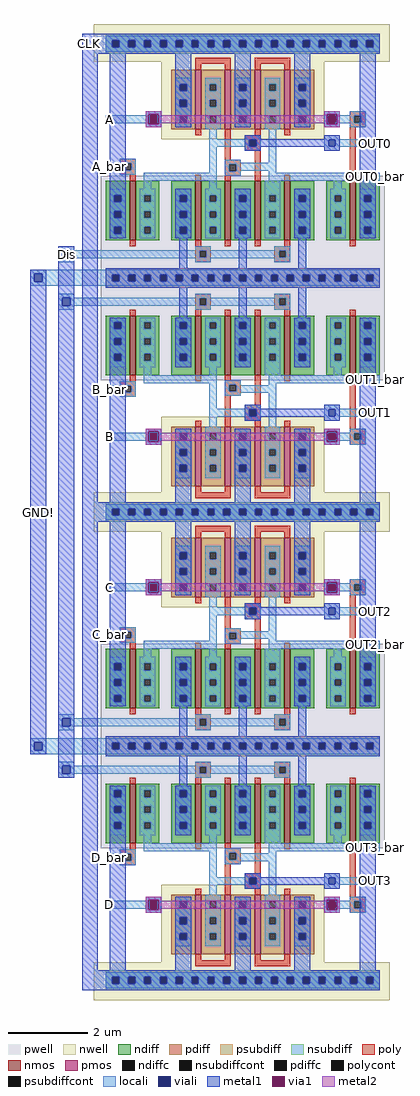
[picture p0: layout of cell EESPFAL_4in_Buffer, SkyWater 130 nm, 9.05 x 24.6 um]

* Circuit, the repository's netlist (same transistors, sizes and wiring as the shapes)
* NGSPICE file created from EESPFAL_4in_Buffer.ext - technology: sky130A

.subckt EESPFAL_INV4 A A_bar OUT OUT_bar Dis GND CLK
X0 OUT A_bar CLK GND sky130_fd_pr__nfet_01v8 ad=1.8e+12p pd=8.4e+06u as=5.25e+12p ps=2.32e+07u w=1.5e+06u l=150000u
X1 CLK OUT OUT_bar CLK sky130_fd_pr__pfet_01v8 ad=2.7e+12p pd=1.26e+07u as=9e+11p ps=4.2e+06u w=1.5e+06u l=150000u M=2
X2 GND Dis OUT_bar GND sky130_fd_pr__nfet_01v8 ad=2.7e+12p pd=1.26e+07u as=1.8e+12p ps=8.4e+06u w=1.5e+06u l=150000u
X3 GND OUT_bar OUT GND sky130_fd_pr__nfet_01v8 ad=0p pd=0u as=0p ps=0u w=1.5e+06u l=150000u
X4 CLK OUT_bar OUT CLK sky130_fd_pr__pfet_01v8 ad=0p pd=0u as=9e+11p ps=4.2e+06u w=1.5e+06u l=150000u M=2
X5 OUT_bar OUT GND GND sky130_fd_pr__nfet_01v8 ad=0p pd=0u as=0p ps=0u w=1.5e+06u l=150000u
X6 CLK A OUT_bar GND sky130_fd_pr__nfet_01v8 ad=0p pd=0u as=0p ps=0u w=1.5e+06u l=150000u
X7 OUT Dis GND GND sky130_fd_pr__nfet_01v8 ad=0p pd=0u as=0p ps=0u w=1.5e+06u l=150000u
.ends

.subckt EESPFAL_4in_Buffer A A_bar B B_bar C C_bar D D_bar OUT0 OUT0_bar OUT1 OUT1_bar
+ OUT2 OUT2_bar OUT3 OUT3_bar Dis GND CLK
XEESPFAL_INV4_0 A A_bar OUT0 OUT0_bar Dis GND CLK EESPFAL_INV4
XEESPFAL_INV4_1 B B_bar OUT1 OUT1_bar Dis GND CLK EESPFAL_INV4
XEESPFAL_INV4_2 C C_bar OUT2 OUT2_bar Dis GND CLK EESPFAL_INV4
XEESPFAL_INV4_3 D D_bar OUT3 OUT3_bar Dis GND CLK EESPFAL_INV4
.ends

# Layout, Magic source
magic
tech sky130A
<< locali >>
rect -130 485 -110 505
rect 540 425 560 445
rect -130 365 -110 385
rect 540 340 560 360
rect -250 165 -210 175
rect -250 145 -240 165
rect -220 145 -110 165
rect -250 135 -210 145
rect -320 105 -130 115
rect -320 85 -310 105
rect -290 85 -130 105
rect -320 75 -130 85
rect -250 45 -210 55
rect -250 25 -240 45
rect -220 25 -110 45
rect -250 15 -210 25
rect 540 -170 560 -150
rect -130 -195 -110 -175
rect 540 -255 560 -235
rect -130 -315 -110 -295
rect -130 -695 -110 -675
rect 540 -755 560 -735
rect -130 -815 -110 -795
rect 540 -840 560 -820
rect -250 -1015 -210 -1005
rect -250 -1035 -240 -1015
rect -220 -1035 -110 -1015
rect -250 -1045 -210 -1035
rect -320 -1075 -130 -1065
rect -320 -1095 -310 -1075
rect -290 -1095 -130 -1075
rect -320 -1105 -130 -1095
rect -250 -1135 -210 -1125
rect -250 -1155 -240 -1135
rect -220 -1155 -110 -1135
rect -250 -1165 -210 -1155
rect 540 -1350 560 -1330
rect -130 -1375 -110 -1355
rect 540 -1435 560 -1415
rect -130 -1495 -110 -1475
<< viali >>
rect -240 145 -220 165
rect -310 85 -290 105
rect -240 25 -220 45
rect -240 -1035 -220 -1015
rect -310 -1095 -290 -1075
rect -240 -1155 -220 -1135
<< metal1 >>
rect -190 660 -130 710
rect -250 165 -210 175
rect -250 145 -240 165
rect -220 145 -210 165
rect -320 105 -280 115
rect -320 85 -310 105
rect -290 85 -280 105
rect -320 -1075 -280 85
rect -320 -1095 -310 -1075
rect -290 -1095 -280 -1075
rect -320 -1105 -280 -1095
rect -250 45 -210 145
rect -250 25 -240 45
rect -220 25 -210 45
rect -250 -1015 -210 25
rect -250 -1035 -240 -1015
rect -220 -1035 -210 -1015
rect -250 -1135 -210 -1035
rect -250 -1155 -240 -1135
rect -220 -1155 -210 -1135
rect -250 -1165 -210 -1155
rect -190 -470 -150 660
rect -190 -520 -130 -470
rect -190 -1650 -150 -520
rect -190 -1700 -130 -1650
use EESPFAL_INV4  EESPFAL_INV4_0
transform 1 0 1535 0 1 -240
box -1695 310 -950 975
use EESPFAL_INV4  EESPFAL_INV4_1
transform 1 0 1535 0 -1 430
box -1695 310 -950 975
use EESPFAL_INV4  EESPFAL_INV4_2
transform 1 0 1535 0 1 -1420
box -1695 310 -950 975
use EESPFAL_INV4  EESPFAL_INV4_3
transform 1 0 1535 0 -1 -750
box -1695 310 -950 975
<< labels >>
rlabel locali -125 490 -115 500 7 A
port 1 w
rlabel locali -125 370 -115 380 7 A_bar
port 2 w
rlabel locali -125 -190 -115 -180 7 B_bar
port 4 w
rlabel locali -125 -310 -115 -300 1 B
port 3 n
rlabel locali -125 -690 -115 -680 7 C
port 5 w
rlabel locali -125 -810 -115 -800 7 C_bar
port 6 w
rlabel locali -125 -1370 -115 -1360 7 D_bar
port 8 w
rlabel locali -125 -1490 -115 -1480 7 D
port 7 w
rlabel locali 545 430 555 440 3 OUT0
port 9 e
rlabel locali 545 345 555 355 3 OUT0_bar
port 10 e
rlabel locali 545 -165 555 -155 3 OUT1_bar
port 12 e
rlabel locali 545 -250 555 -240 3 OUT1
port 11 e
rlabel locali 545 -750 555 -740 3 OUT2
port 13 e
rlabel locali 545 -835 555 -825 3 OUT2_bar
port 14 e
rlabel locali 545 -1345 555 -1335 3 OUT3_bar
port 16 e
rlabel locali 545 -1430 555 -1420 3 OUT3
port 15 e
rlabel metal1 -180 675 -160 695 7 CLK
port 19 w
rlabel metal1 -310 -505 -290 -485 7 GND!
port 18 w
rlabel metal1 -240 145 -220 165 7 Dis
port 17 w
<< end >>

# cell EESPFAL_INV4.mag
magic
tech sky130A
magscale 1 2
<< nwell >>
rect -3390 1760 -1900 1950
rect -3050 1370 -2230 1760
<< pwell >>
rect -3356 594 -1924 1186
<< nmos >>
rect -3210 860 -3180 1160
rect -2880 860 -2850 1160
rect -2730 860 -2700 1160
rect -2580 860 -2550 1160
rect -2430 860 -2400 1160
rect -2100 860 -2070 1160
<< pmos >>
rect -2880 1420 -2850 1720
rect -2730 1420 -2700 1720
rect -2580 1420 -2550 1720
rect -2430 1420 -2400 1720
<< ndiff >>
rect -3330 1087 -3210 1160
rect -3330 1053 -3287 1087
rect -3253 1053 -3210 1087
rect -3330 1007 -3210 1053
rect -3330 973 -3287 1007
rect -3253 973 -3210 1007
rect -3330 927 -3210 973
rect -3330 893 -3287 927
rect -3253 893 -3210 927
rect -3330 860 -3210 893
rect -3180 1087 -3060 1160
rect -3180 1053 -3137 1087
rect -3103 1053 -3060 1087
rect -3180 1007 -3060 1053
rect -3180 973 -3137 1007
rect -3103 973 -3060 1007
rect -3180 927 -3060 973
rect -3180 893 -3137 927
rect -3103 893 -3060 927
rect -3180 860 -3060 893
rect -3000 1087 -2880 1160
rect -3000 1053 -2957 1087
rect -2923 1053 -2880 1087
rect -3000 1007 -2880 1053
rect -3000 973 -2957 1007
rect -2923 973 -2880 1007
rect -3000 927 -2880 973
rect -3000 893 -2957 927
rect -2923 893 -2880 927
rect -3000 860 -2880 893
rect -2850 1087 -2730 1160
rect -2850 1053 -2807 1087
rect -2773 1053 -2730 1087
rect -2850 1007 -2730 1053
rect -2850 973 -2807 1007
rect -2773 973 -2730 1007
rect -2850 927 -2730 973
rect -2850 893 -2807 927
rect -2773 893 -2730 927
rect -2850 860 -2730 893
rect -2700 1087 -2580 1160
rect -2700 1053 -2657 1087
rect -2623 1053 -2580 1087
rect -2700 1007 -2580 1053
rect -2700 973 -2657 1007
rect -2623 973 -2580 1007
rect -2700 927 -2580 973
rect -2700 893 -2657 927
rect -2623 893 -2580 927
rect -2700 860 -2580 893
rect -2550 1087 -2430 1160
rect -2550 1053 -2507 1087
rect -2473 1053 -2430 1087
rect -2550 1007 -2430 1053
rect -2550 973 -2507 1007
rect -2473 973 -2430 1007
rect -2550 927 -2430 973
rect -2550 893 -2507 927
rect -2473 893 -2430 927
rect -2550 860 -2430 893
rect -2400 1087 -2280 1160
rect -2400 1053 -2357 1087
rect -2323 1053 -2280 1087
rect -2400 1007 -2280 1053
rect -2400 973 -2357 1007
rect -2323 973 -2280 1007
rect -2400 927 -2280 973
rect -2400 893 -2357 927
rect -2323 893 -2280 927
rect -2400 860 -2280 893
rect -2220 1087 -2100 1160
rect -2220 1053 -2177 1087
rect -2143 1053 -2100 1087
rect -2220 1007 -2100 1053
rect -2220 973 -2177 1007
rect -2143 973 -2100 1007
rect -2220 927 -2100 973
rect -2220 893 -2177 927
rect -2143 893 -2100 927
rect -2220 860 -2100 893
rect -2070 1087 -1950 1160
rect -2070 1053 -2027 1087
rect -1993 1053 -1950 1087
rect -2070 1007 -1950 1053
rect -2070 973 -2027 1007
rect -1993 973 -1950 1007
rect -2070 927 -1950 973
rect -2070 893 -2027 927
rect -1993 893 -1950 927
rect -2070 860 -1950 893
<< pdiff >>
rect -3000 1647 -2880 1720
rect -3000 1613 -2957 1647
rect -2923 1613 -2880 1647
rect -3000 1567 -2880 1613
rect -3000 1533 -2957 1567
rect -2923 1533 -2880 1567
rect -3000 1487 -2880 1533
rect -3000 1453 -2957 1487
rect -2923 1453 -2880 1487
rect -3000 1420 -2880 1453
rect -2850 1647 -2730 1720
rect -2850 1613 -2807 1647
rect -2773 1613 -2730 1647
rect -2850 1567 -2730 1613
rect -2850 1533 -2807 1567
rect -2773 1533 -2730 1567
rect -2850 1487 -2730 1533
rect -2850 1453 -2807 1487
rect -2773 1453 -2730 1487
rect -2850 1420 -2730 1453
rect -2700 1647 -2580 1720
rect -2700 1613 -2657 1647
rect -2623 1613 -2580 1647
rect -2700 1567 -2580 1613
rect -2700 1533 -2657 1567
rect -2623 1533 -2580 1567
rect -2700 1487 -2580 1533
rect -2700 1453 -2657 1487
rect -2623 1453 -2580 1487
rect -2700 1420 -2580 1453
rect -2550 1647 -2430 1720
rect -2550 1613 -2507 1647
rect -2473 1613 -2430 1647
rect -2550 1567 -2430 1613
rect -2550 1533 -2507 1567
rect -2473 1533 -2430 1567
rect -2550 1487 -2430 1533
rect -2550 1453 -2507 1487
rect -2473 1453 -2430 1487
rect -2550 1420 -2430 1453
rect -2400 1647 -2280 1720
rect -2400 1613 -2357 1647
rect -2323 1613 -2280 1647
rect -2400 1567 -2280 1613
rect -2400 1533 -2357 1567
rect -2323 1533 -2280 1567
rect -2400 1487 -2280 1533
rect -2400 1453 -2357 1487
rect -2323 1453 -2280 1487
rect -2400 1420 -2280 1453
<< ndiffc >>
rect -3287 1053 -3253 1087
rect -3287 973 -3253 1007
rect -3287 893 -3253 927
rect -3137 1053 -3103 1087
rect -3137 973 -3103 1007
rect -3137 893 -3103 927
rect -2957 1053 -2923 1087
rect -2957 973 -2923 1007
rect -2957 893 -2923 927
rect -2807 1053 -2773 1087
rect -2807 973 -2773 1007
rect -2807 893 -2773 927
rect -2657 1053 -2623 1087
rect -2657 973 -2623 1007
rect -2657 893 -2623 927
rect -2507 1053 -2473 1087
rect -2507 973 -2473 1007
rect -2507 893 -2473 927
rect -2357 1053 -2323 1087
rect -2357 973 -2323 1007
rect -2357 893 -2323 927
rect -2177 1053 -2143 1087
rect -2177 973 -2143 1007
rect -2177 893 -2143 927
rect -2027 1053 -1993 1087
rect -2027 973 -1993 1007
rect -2027 893 -1993 927
<< pdiffc >>
rect -2957 1613 -2923 1647
rect -2957 1533 -2923 1567
rect -2957 1453 -2923 1487
rect -2807 1613 -2773 1647
rect -2807 1533 -2773 1567
rect -2807 1453 -2773 1487
rect -2657 1613 -2623 1647
rect -2657 1533 -2623 1567
rect -2657 1453 -2623 1487
rect -2507 1613 -2473 1647
rect -2507 1533 -2473 1567
rect -2507 1453 -2473 1487
rect -2357 1613 -2323 1647
rect -2357 1533 -2323 1567
rect -2357 1453 -2323 1487
<< psubdiff >>
rect -3330 687 -1950 720
rect -3330 653 -3297 687
rect -3263 653 -3217 687
rect -3183 653 -3137 687
rect -3103 653 -3057 687
rect -3023 653 -2977 687
rect -2943 653 -2897 687
rect -2863 653 -2817 687
rect -2783 653 -2737 687
rect -2703 653 -2657 687
rect -2623 653 -2577 687
rect -2543 653 -2497 687
rect -2463 653 -2417 687
rect -2383 653 -2337 687
rect -2303 653 -2257 687
rect -2223 653 -2177 687
rect -2143 653 -2097 687
rect -2063 653 -2017 687
rect -1983 653 -1950 687
rect -3330 620 -1950 653
<< nsubdiff >>
rect -3330 1867 -1950 1900
rect -3330 1833 -3297 1867
rect -3263 1833 -3217 1867
rect -3183 1833 -3137 1867
rect -3103 1833 -3057 1867
rect -3023 1833 -2977 1867
rect -2943 1833 -2897 1867
rect -2863 1833 -2817 1867
rect -2783 1833 -2737 1867
rect -2703 1833 -2657 1867
rect -2623 1833 -2577 1867
rect -2543 1833 -2497 1867
rect -2463 1833 -2417 1867
rect -2383 1833 -2337 1867
rect -2303 1833 -2257 1867
rect -2223 1833 -2177 1867
rect -2143 1833 -2097 1867
rect -2063 1833 -2017 1867
rect -1983 1833 -1950 1867
rect -3330 1800 -1950 1833
<< psubdiffcont >>
rect -3297 653 -3263 687
rect -3217 653 -3183 687
rect -3137 653 -3103 687
rect -3057 653 -3023 687
rect -2977 653 -2943 687
rect -2897 653 -2863 687
rect -2817 653 -2783 687
rect -2737 653 -2703 687
rect -2657 653 -2623 687
rect -2577 653 -2543 687
rect -2497 653 -2463 687
rect -2417 653 -2383 687
rect -2337 653 -2303 687
rect -2257 653 -2223 687
rect -2177 653 -2143 687
rect -2097 653 -2063 687
rect -2017 653 -1983 687
<< nsubdiffcont >>
rect -3297 1833 -3263 1867
rect -3217 1833 -3183 1867
rect -3137 1833 -3103 1867
rect -3057 1833 -3023 1867
rect -2977 1833 -2943 1867
rect -2897 1833 -2863 1867
rect -2817 1833 -2783 1867
rect -2737 1833 -2703 1867
rect -2657 1833 -2623 1867
rect -2577 1833 -2543 1867
rect -2497 1833 -2463 1867
rect -2417 1833 -2383 1867
rect -2337 1833 -2303 1867
rect -2257 1833 -2223 1867
rect -2177 1833 -2143 1867
rect -2097 1833 -2063 1867
rect -2017 1833 -1983 1867
<< poly >>
rect -2880 1750 -2700 1780
rect -2880 1720 -2850 1750
rect -2730 1720 -2700 1750
rect -2580 1750 -2400 1780
rect -2580 1720 -2550 1750
rect -2430 1720 -2400 1750
rect -2100 1487 -2020 1510
rect -2100 1453 -2077 1487
rect -2043 1453 -2020 1487
rect -2100 1430 -2020 1453
rect -2880 1390 -2850 1420
rect -3260 1247 -3180 1270
rect -3260 1213 -3237 1247
rect -3203 1213 -3180 1247
rect -3260 1190 -3180 1213
rect -2730 1265 -2700 1420
rect -2580 1390 -2550 1420
rect -2430 1390 -2400 1420
rect -2630 1367 -2550 1390
rect -2630 1333 -2607 1367
rect -2573 1333 -2550 1367
rect -2630 1310 -2550 1333
rect -2730 1242 -2650 1265
rect -2730 1208 -2707 1242
rect -2673 1208 -2650 1242
rect -3210 1160 -3180 1190
rect -2880 1160 -2850 1190
rect -2730 1185 -2650 1208
rect -2730 1160 -2700 1185
rect -2580 1160 -2550 1310
rect -2430 1160 -2400 1190
rect -2100 1160 -2070 1430
rect -3210 830 -3180 860
rect -2880 830 -2850 860
rect -2730 830 -2700 860
rect -2580 830 -2550 860
rect -2430 830 -2400 860
rect -2100 830 -2070 860
rect -2880 807 -2800 830
rect -2880 773 -2857 807
rect -2823 773 -2800 807
rect -2880 750 -2800 773
rect -2480 807 -2400 830
rect -2480 773 -2457 807
rect -2423 773 -2400 807
rect -2480 750 -2400 773
<< polycont >>
rect -2077 1453 -2043 1487
rect -3237 1213 -3203 1247
rect -2607 1333 -2573 1367
rect -2707 1208 -2673 1242
rect -2857 773 -2823 807
rect -2457 773 -2423 807
<< locali >>
rect -3330 1867 -1950 1890
rect -3330 1833 -3297 1867
rect -3263 1833 -3217 1867
rect -3183 1833 -3137 1867
rect -3103 1833 -3057 1867
rect -3023 1833 -2977 1867
rect -2943 1833 -2897 1867
rect -2863 1833 -2817 1867
rect -2783 1833 -2737 1867
rect -2703 1833 -2657 1867
rect -2623 1833 -2577 1867
rect -2543 1833 -2497 1867
rect -2463 1833 -2417 1867
rect -2383 1833 -2337 1867
rect -2303 1833 -2257 1867
rect -2223 1833 -2177 1867
rect -2143 1833 -2097 1867
rect -2063 1833 -2017 1867
rect -1983 1833 -1950 1867
rect -3330 1810 -1950 1833
rect -2980 1647 -2900 1680
rect -2980 1613 -2957 1647
rect -2923 1613 -2900 1647
rect -2980 1567 -2900 1613
rect -2980 1533 -2957 1567
rect -2923 1533 -2900 1567
rect -3130 1490 -3050 1510
rect -3330 1487 -3050 1490
rect -3330 1453 -3107 1487
rect -3073 1453 -3050 1487
rect -3330 1450 -3050 1453
rect -3130 1430 -3050 1450
rect -2980 1487 -2900 1533
rect -2980 1453 -2957 1487
rect -2923 1453 -2900 1487
rect -2980 1430 -2900 1453
rect -2830 1647 -2750 1680
rect -2830 1613 -2807 1647
rect -2773 1613 -2750 1647
rect -2830 1567 -2750 1613
rect -2830 1533 -2807 1567
rect -2773 1533 -2750 1567
rect -2830 1487 -2750 1533
rect -2830 1453 -2807 1487
rect -2773 1453 -2750 1487
rect -2830 1420 -2750 1453
rect -2680 1647 -2600 1680
rect -2680 1613 -2657 1647
rect -2623 1613 -2600 1647
rect -2680 1567 -2600 1613
rect -2680 1533 -2657 1567
rect -2623 1533 -2600 1567
rect -2680 1487 -2600 1533
rect -2680 1453 -2657 1487
rect -2623 1453 -2600 1487
rect -2680 1430 -2600 1453
rect -2530 1647 -2450 1680
rect -2530 1613 -2507 1647
rect -2473 1613 -2450 1647
rect -2530 1567 -2450 1613
rect -2530 1533 -2507 1567
rect -2473 1533 -2450 1567
rect -2530 1487 -2450 1533
rect -2530 1453 -2507 1487
rect -2473 1453 -2450 1487
rect -2530 1420 -2450 1453
rect -2380 1647 -2300 1680
rect -2380 1613 -2357 1647
rect -2323 1613 -2300 1647
rect -2380 1567 -2300 1613
rect -2380 1533 -2357 1567
rect -2323 1533 -2300 1567
rect -2380 1487 -2300 1533
rect -2380 1453 -2357 1487
rect -2323 1453 -2300 1487
rect -2380 1430 -2300 1453
rect -2230 1490 -2150 1510
rect -2100 1490 -2020 1510
rect -2230 1487 -2020 1490
rect -2230 1453 -2207 1487
rect -2173 1453 -2077 1487
rect -2043 1453 -2020 1487
rect -2230 1450 -2020 1453
rect -2230 1430 -2150 1450
rect -2100 1430 -2020 1450
rect -2810 1370 -2770 1420
rect -2630 1370 -2550 1390
rect -2810 1367 -2550 1370
rect -2810 1333 -2607 1367
rect -2573 1333 -2550 1367
rect -2810 1330 -2550 1333
rect -3260 1250 -3180 1270
rect -3330 1247 -3180 1250
rect -3330 1213 -3237 1247
rect -3203 1213 -3180 1247
rect -3330 1210 -3180 1213
rect -3260 1190 -3180 1210
rect -2810 1200 -2770 1330
rect -2630 1310 -2550 1330
rect -3140 1160 -2770 1200
rect -2730 1250 -2650 1265
rect -2510 1250 -2470 1420
rect -2230 1370 -2150 1390
rect -2230 1367 -1950 1370
rect -2230 1333 -2207 1367
rect -2173 1333 -1950 1367
rect -2230 1330 -1950 1333
rect -2230 1310 -2150 1330
rect -2730 1242 -2470 1250
rect -2730 1208 -2707 1242
rect -2673 1210 -2470 1242
rect -2673 1208 -2650 1210
rect -2730 1185 -2650 1208
rect -2510 1200 -2470 1210
rect -2510 1160 -1950 1200
rect -3140 1120 -3100 1160
rect -2810 1120 -2770 1160
rect -3310 1087 -3230 1120
rect -3310 1053 -3287 1087
rect -3253 1053 -3230 1087
rect -3310 1007 -3230 1053
rect -3310 973 -3287 1007
rect -3253 973 -3230 1007
rect -3310 927 -3230 973
rect -3310 893 -3287 927
rect -3253 893 -3230 927
rect -3310 870 -3230 893
rect -3160 1087 -3080 1120
rect -3160 1053 -3137 1087
rect -3103 1053 -3080 1087
rect -3160 1007 -3080 1053
rect -3160 973 -3137 1007
rect -3103 973 -3080 1007
rect -3160 927 -3080 973
rect -3160 893 -3137 927
rect -3103 893 -3080 927
rect -3160 870 -3080 893
rect -2980 1087 -2900 1120
rect -2980 1053 -2957 1087
rect -2923 1053 -2900 1087
rect -2980 1007 -2900 1053
rect -2980 973 -2957 1007
rect -2923 973 -2900 1007
rect -2980 927 -2900 973
rect -2980 893 -2957 927
rect -2923 893 -2900 927
rect -2980 870 -2900 893
rect -2830 1087 -2750 1120
rect -2830 1053 -2807 1087
rect -2773 1053 -2750 1087
rect -2830 1007 -2750 1053
rect -2830 973 -2807 1007
rect -2773 973 -2750 1007
rect -2830 927 -2750 973
rect -2830 893 -2807 927
rect -2773 893 -2750 927
rect -2830 870 -2750 893
rect -2680 1087 -2600 1120
rect -2680 1053 -2657 1087
rect -2623 1053 -2600 1087
rect -2680 1007 -2600 1053
rect -2680 973 -2657 1007
rect -2623 973 -2600 1007
rect -2680 927 -2600 973
rect -2680 893 -2657 927
rect -2623 893 -2600 927
rect -2680 870 -2600 893
rect -2530 1087 -2450 1160
rect -2180 1120 -2140 1160
rect -2530 1053 -2507 1087
rect -2473 1053 -2450 1087
rect -2530 1007 -2450 1053
rect -2530 973 -2507 1007
rect -2473 973 -2450 1007
rect -2530 927 -2450 973
rect -2530 893 -2507 927
rect -2473 893 -2450 927
rect -2530 870 -2450 893
rect -2380 1087 -2300 1120
rect -2380 1053 -2357 1087
rect -2323 1053 -2300 1087
rect -2380 1007 -2300 1053
rect -2380 973 -2357 1007
rect -2323 973 -2300 1007
rect -2380 927 -2300 973
rect -2380 893 -2357 927
rect -2323 893 -2300 927
rect -2380 870 -2300 893
rect -2200 1087 -2120 1120
rect -2200 1053 -2177 1087
rect -2143 1053 -2120 1087
rect -2200 1007 -2120 1053
rect -2200 973 -2177 1007
rect -2143 973 -2120 1007
rect -2200 927 -2120 973
rect -2200 893 -2177 927
rect -2143 893 -2120 927
rect -2200 870 -2120 893
rect -2050 1087 -1970 1120
rect -2050 1053 -2027 1087
rect -1993 1053 -1970 1087
rect -2050 1007 -1970 1053
rect -2050 973 -2027 1007
rect -1993 973 -1970 1007
rect -2050 927 -1970 973
rect -2050 893 -2027 927
rect -1993 893 -1970 927
rect -2050 870 -1970 893
rect -2880 810 -2800 830
rect -2480 810 -2400 830
rect -3330 807 -2400 810
rect -3330 773 -2857 807
rect -2823 773 -2457 807
rect -2423 773 -2400 807
rect -3330 770 -2400 773
rect -2880 750 -2800 770
rect -2480 750 -2400 770
rect -3330 687 -1950 710
rect -3330 653 -3297 687
rect -3263 653 -3217 687
rect -3183 653 -3137 687
rect -3103 653 -3057 687
rect -3023 653 -2977 687
rect -2943 653 -2897 687
rect -2863 653 -2817 687
rect -2783 653 -2737 687
rect -2703 653 -2657 687
rect -2623 653 -2577 687
rect -2543 653 -2497 687
rect -2463 653 -2417 687
rect -2383 653 -2337 687
rect -2303 653 -2257 687
rect -2223 653 -2177 687
rect -2143 653 -2097 687
rect -2063 653 -2017 687
rect -1983 653 -1950 687
rect -3330 630 -1950 653
<< viali >>
rect -3297 1833 -3263 1867
rect -3217 1833 -3183 1867
rect -3137 1833 -3103 1867
rect -3057 1833 -3023 1867
rect -2977 1833 -2943 1867
rect -2897 1833 -2863 1867
rect -2817 1833 -2783 1867
rect -2737 1833 -2703 1867
rect -2657 1833 -2623 1867
rect -2577 1833 -2543 1867
rect -2497 1833 -2463 1867
rect -2417 1833 -2383 1867
rect -2337 1833 -2303 1867
rect -2257 1833 -2223 1867
rect -2177 1833 -2143 1867
rect -2097 1833 -2063 1867
rect -2017 1833 -1983 1867
rect -2957 1613 -2923 1647
rect -2957 1533 -2923 1567
rect -3107 1453 -3073 1487
rect -2957 1453 -2923 1487
rect -2657 1613 -2623 1647
rect -2657 1533 -2623 1567
rect -2657 1453 -2623 1487
rect -2357 1613 -2323 1647
rect -2357 1533 -2323 1567
rect -2357 1453 -2323 1487
rect -2207 1453 -2173 1487
rect -2607 1333 -2573 1367
rect -2207 1333 -2173 1367
rect -3287 1053 -3253 1087
rect -3287 973 -3253 1007
rect -3287 893 -3253 927
rect -2957 1053 -2923 1087
rect -2957 973 -2923 1007
rect -2957 893 -2923 927
rect -2657 1053 -2623 1087
rect -2657 973 -2623 1007
rect -2657 893 -2623 927
rect -2357 1053 -2323 1087
rect -2357 973 -2323 1007
rect -2357 893 -2323 927
rect -2027 1053 -1993 1087
rect -2027 973 -1993 1007
rect -2027 893 -1993 927
rect -3297 653 -3263 687
rect -3217 653 -3183 687
rect -3137 653 -3103 687
rect -3057 653 -3023 687
rect -2977 653 -2943 687
rect -2897 653 -2863 687
rect -2817 653 -2783 687
rect -2737 653 -2703 687
rect -2657 653 -2623 687
rect -2577 653 -2543 687
rect -2497 653 -2463 687
rect -2417 653 -2383 687
rect -2337 653 -2303 687
rect -2257 653 -2223 687
rect -2177 653 -2143 687
rect -2097 653 -2063 687
rect -2017 653 -1983 687
<< metal1 >>
rect -3330 1867 -1950 1900
rect -3330 1833 -3297 1867
rect -3263 1833 -3217 1867
rect -3183 1833 -3137 1867
rect -3103 1833 -3057 1867
rect -3023 1833 -2977 1867
rect -2943 1833 -2897 1867
rect -2863 1833 -2817 1867
rect -2783 1833 -2737 1867
rect -2703 1833 -2657 1867
rect -2623 1833 -2577 1867
rect -2543 1833 -2497 1867
rect -2463 1833 -2417 1867
rect -2383 1833 -2337 1867
rect -2303 1833 -2257 1867
rect -2223 1833 -2177 1867
rect -2143 1833 -2097 1867
rect -2063 1833 -2017 1867
rect -1983 1833 -1950 1867
rect -3330 1800 -1950 1833
rect -3310 1087 -3230 1800
rect -2980 1647 -2900 1800
rect -2980 1613 -2957 1647
rect -2923 1613 -2900 1647
rect -2980 1567 -2900 1613
rect -2980 1533 -2957 1567
rect -2923 1533 -2900 1567
rect -3130 1496 -3050 1510
rect -3130 1444 -3116 1496
rect -3064 1444 -3050 1496
rect -3130 1430 -3050 1444
rect -2980 1487 -2900 1533
rect -2980 1453 -2957 1487
rect -2923 1453 -2900 1487
rect -2980 1430 -2900 1453
rect -2680 1647 -2600 1800
rect -2680 1613 -2657 1647
rect -2623 1613 -2600 1647
rect -2680 1567 -2600 1613
rect -2680 1533 -2657 1567
rect -2623 1533 -2600 1567
rect -2680 1487 -2600 1533
rect -2680 1453 -2657 1487
rect -2623 1453 -2600 1487
rect -2680 1430 -2600 1453
rect -2380 1647 -2300 1800
rect -2380 1613 -2357 1647
rect -2323 1613 -2300 1647
rect -2380 1567 -2300 1613
rect -2380 1533 -2357 1567
rect -2323 1533 -2300 1567
rect -2380 1487 -2300 1533
rect -2380 1453 -2357 1487
rect -2323 1453 -2300 1487
rect -2380 1430 -2300 1453
rect -2230 1496 -2150 1510
rect -2230 1444 -2216 1496
rect -2164 1444 -2150 1496
rect -2230 1430 -2150 1444
rect -2630 1370 -2550 1390
rect -2230 1370 -2150 1390
rect -2630 1367 -2150 1370
rect -2630 1333 -2607 1367
rect -2573 1333 -2207 1367
rect -2173 1333 -2150 1367
rect -2630 1330 -2150 1333
rect -2630 1310 -2550 1330
rect -2230 1310 -2150 1330
rect -3310 1053 -3287 1087
rect -3253 1053 -3230 1087
rect -3310 1007 -3230 1053
rect -3310 973 -3287 1007
rect -3253 973 -3230 1007
rect -3310 927 -3230 973
rect -3310 893 -3287 927
rect -3253 893 -3230 927
rect -3310 870 -3230 893
rect -2980 1087 -2900 1120
rect -2980 1053 -2957 1087
rect -2923 1053 -2900 1087
rect -2980 1007 -2900 1053
rect -2980 973 -2957 1007
rect -2923 973 -2900 1007
rect -2980 927 -2900 973
rect -2980 893 -2957 927
rect -2923 893 -2900 927
rect -2980 870 -2900 893
rect -2680 1087 -2600 1120
rect -2680 1053 -2657 1087
rect -2623 1053 -2600 1087
rect -2680 1007 -2600 1053
rect -2680 973 -2657 1007
rect -2623 973 -2600 1007
rect -2680 927 -2600 973
rect -2680 893 -2657 927
rect -2623 893 -2600 927
rect -2680 870 -2600 893
rect -2380 1087 -2300 1120
rect -2380 1053 -2357 1087
rect -2323 1053 -2300 1087
rect -2380 1007 -2300 1053
rect -2380 973 -2357 1007
rect -2323 973 -2300 1007
rect -2380 927 -2300 973
rect -2380 893 -2357 927
rect -2323 893 -2300 927
rect -2380 870 -2300 893
rect -2050 1087 -1970 1800
rect -2050 1053 -2027 1087
rect -1993 1053 -1970 1087
rect -2050 1007 -1970 1053
rect -2050 973 -2027 1007
rect -1993 973 -1970 1007
rect -2050 927 -1970 973
rect -2050 893 -2027 927
rect -1993 893 -1970 927
rect -2050 870 -1970 893
rect -2960 720 -2920 870
rect -2660 720 -2620 870
rect -2360 720 -2320 870
rect -3330 687 -1950 720
rect -3330 653 -3297 687
rect -3263 653 -3217 687
rect -3183 653 -3137 687
rect -3103 653 -3057 687
rect -3023 653 -2977 687
rect -2943 653 -2897 687
rect -2863 653 -2817 687
rect -2783 653 -2737 687
rect -2703 653 -2657 687
rect -2623 653 -2577 687
rect -2543 653 -2497 687
rect -2463 653 -2417 687
rect -2383 653 -2337 687
rect -2303 653 -2257 687
rect -2223 653 -2177 687
rect -2143 653 -2097 687
rect -2063 653 -2017 687
rect -1983 653 -1950 687
rect -3330 620 -1950 653
<< via1 >>
rect -3116 1487 -3064 1496
rect -3116 1453 -3107 1487
rect -3107 1453 -3073 1487
rect -3073 1453 -3064 1487
rect -3116 1444 -3064 1453
rect -2216 1487 -2164 1496
rect -2216 1453 -2207 1487
rect -2207 1453 -2173 1487
rect -2173 1453 -2164 1487
rect -2216 1444 -2164 1453
<< metal2 >>
rect -3130 1496 -3050 1510
rect -3130 1444 -3116 1496
rect -3064 1490 -3050 1496
rect -2230 1496 -2150 1510
rect -2230 1490 -2216 1496
rect -3064 1450 -2216 1490
rect -3064 1444 -3050 1450
rect -3130 1430 -3050 1444
rect -2230 1444 -2216 1450
rect -2164 1444 -2150 1496
rect -2230 1430 -2150 1444
<< labels >>
rlabel metal1 s -2610 1330 -2570 1370 4 OUT
port 1 nsew
rlabel metal1 s -2660 650 -2620 690 4 GND!
port 2 nsew
rlabel metal1 s -2660 1830 -2620 1870 4 CLK
port 3 nsew
rlabel locali s -2710 1205 -2670 1245 4 OUT_bar
port 4 nsew
rlabel locali s -2080 1450 -2040 1490 4 A
port 5 nsew
rlabel locali s -3240 1210 -3200 1250 4 A_bar
port 6 nsew
rlabel locali s -2860 770 -2820 810 4 Dis
port 7 nsew
<< end >>
